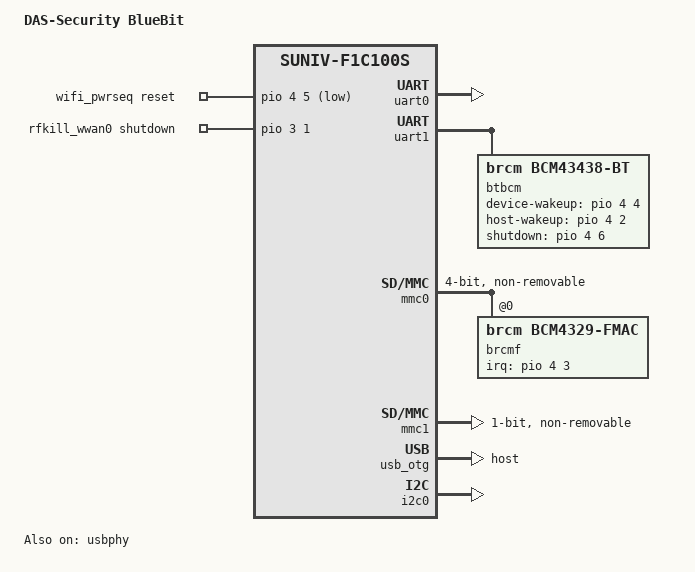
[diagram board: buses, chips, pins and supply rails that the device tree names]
// SPDX-License-Identifier: (GPL-2.0+ OR X11)

/dts-v1/;
#include "suniv-f1c200s.dtsi"

/ {
	model = "DAS-Security BlueBit";
	compatible = "allwinner,suniv-f1c200s",
			 "allwinner,suniv-f1c100s";

	aliases {
		serial0 = &uart0;
	};

	chosen {
		#address-cells = <1>;
		#size-cells = <1>;
		ranges;

		stdout-path = "serial0:115200n8";
	};

	wifi_pwrseq: wifi_pwrseq {
		compatible = "mmc-pwrseq-simple";
		reset-gpios = <&pio 4 5 (GPIO_ACTIVE_LOW | GPIO_PULL_UP)>;
	};

	rfkill_wwan0 {
		compatible = "rfkill-gpio";
		rfkill-name = "wwan0";
		rfkill-type = <5>;
		shutdown-gpios = <&pio 3 1 (GPIO_ACTIVE_HIGH | GPIO_PULL_UP)>;
	};
};

&pio {
	brcmf_pins: brcmf-pins {
		pins = "PE3";
		function = "gpio_in";
		bias-pull-up;
	};
};

&uart0 {
	pinctrl-names = "default";
	pinctrl-0 = <&uart0_pe_pins>;
	status = "okay";
};

&uart1 {
	pinctrl-names = "default";
	pinctrl-0 = <&uart1_pa_pins>, <&uart1_pa_rcts_pins>;
	uart-has-rtscts;
	status = "okay";

	btbcm: bluetooth {
		compatible = "brcm,bcm43438-bt";
		device-wakeup-gpios = <&pio 4 4 (GPIO_ACTIVE_HIGH | GPIO_PULL_UP)>;
		host-wakeup-gpios = <&pio 4 2 (GPIO_ACTIVE_HIGH | GPIO_PULL_UP)>;
		shutdown-gpios = <&pio 4 6 (GPIO_ACTIVE_HIGH | GPIO_PULL_UP)>;
	};
};

&mmc0 {
	status = "okay";
	mmc-pwrseq = <&wifi_pwrseq>;
	bus-width = <4>;
	non-removable;

	brcmf: wifi@0 {
		compatible = "brcm,bcm4329-fmac";
		pinctrl-names = "default";
		pinctrl-0 = <&brcmf_pins>;
		interrupt-parent = <&pio>;
		interrupt-names = "host-wake";
		interrupts = <4 3 IRQ_TYPE_LEVEL_LOW>;
	};
};

&mmc1 {
	status = "okay";
	bus-width = <1>;
	non-removable;
};

&otg_sram {
	status = "okay";
};

&usb_otg {
	dr_mode = "host";
	status = "okay";
};

&usbphy {
	status = "okay";
};

&i2c0 {
	pinctrl-names = "default";
	pinctrl-0 = <&i2c0_pd_pins>;
	status = "okay";
};
